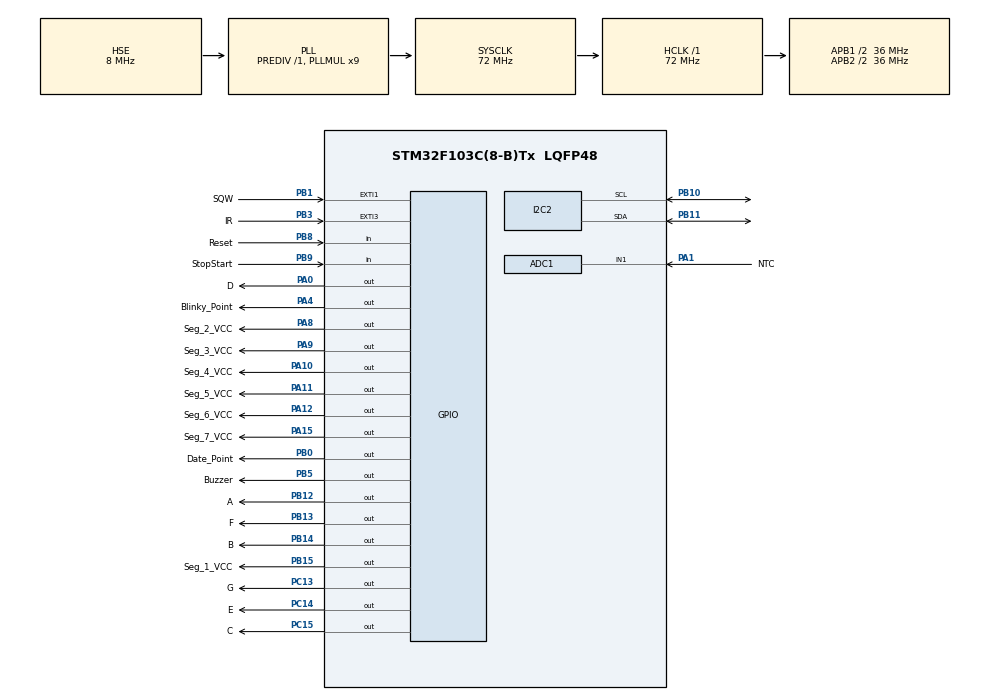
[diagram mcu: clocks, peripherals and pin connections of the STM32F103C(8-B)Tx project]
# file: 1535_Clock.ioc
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ADC1.Channel-0\#ChannelRegularConversion=ADC_CHANNEL_1
ADC1.NbrOfConversionFlag=1
ADC1.Rank-0\#ChannelRegularConversion=1
ADC1.SamplingTime-0\#ChannelRegularConversion=ADC_SAMPLETIME_1CYCLE_5
ADC1.master=1
Mcu.Family=STM32F1
Mcu.Name=STM32F103C(8-B)Tx
Mcu.Package=LQFP48
NVIC.EXTI1_IRQn=true\:0\:0\:false\:false\:true\:true\:true\:true
NVIC.EXTI3_IRQn=true\:0\:0\:false\:false\:true\:true\:true\:true
NVIC.PriorityGroup=NVIC_PRIORITYGROUP_4
NVIC.TIM2_IRQn=true\:0\:0\:false\:false\:true\:true\:true\:true
NVIC.TIM3_IRQn=true\:0\:0\:false\:false\:true\:true\:true\:true
PA0-WKUP.GPIO_Label=D
PA0-WKUP.GPIO_Speed=GPIO_SPEED_FREQ_HIGH
PA0-WKUP.Signal=GPIO_Output
PA1.GPIO_Label=NTC
PA1.Signal=SharedAnalog_PA1
PA10.GPIO_Label=Seg_4_VCC
PA10.GPIO_Speed=GPIO_SPEED_FREQ_HIGH
PA10.Signal=GPIO_Output
PA11.GPIO_Label=Seg_5_VCC
PA11.GPIO_Speed=GPIO_SPEED_FREQ_HIGH
PA11.Signal=GPIO_Output
PA12.GPIO_Label=Seg_6_VCC
PA12.GPIO_Speed=GPIO_SPEED_FREQ_HIGH
PA12.Signal=GPIO_Output
PA13.Mode=Serial_Wire
PA13.Signal=SYS_JTMS-SWDIO
PA14.Mode=Serial_Wire
PA14.Signal=SYS_JTCK-SWCLK
PA15.GPIO_Label=Seg_7_VCC
PA15.GPIO_Speed=GPIO_SPEED_FREQ_HIGH
PA15.Signal=GPIO_Output
PA4.GPIO_Label=Blinky_Point
PA4.Signal=GPIO_Output
PA8.GPIO_Label=Seg_2_VCC
PA8.GPIO_Speed=GPIO_SPEED_FREQ_HIGH
PA8.Signal=GPIO_Output
PA9.GPIO_Label=Seg_3_VCC
PA9.GPIO_Speed=GPIO_SPEED_FREQ_HIGH
PA9.Signal=GPIO_Output
PB0.GPIO_Label=Date_Point
PB0.Signal=GPIO_Output
PB1.GPIO_Label=SQW
PB1.Signal=GPXTI1
PB10.Mode=I2C
PB10.Signal=I2C2_SCL
PB11.Mode=I2C
PB11.Signal=I2C2_SDA
PB12.GPIO_Label=A
PB12.GPIO_Speed=GPIO_SPEED_FREQ_HIGH
PB12.Signal=GPIO_Output
PB13.GPIO_Label=F
PB13.GPIO_Speed=GPIO_SPEED_FREQ_HIGH
PB13.Signal=GPIO_Output
PB14.GPIO_Label=B
PB14.GPIO_Speed=GPIO_SPEED_FREQ_HIGH
PB14.Signal=GPIO_Output
PB15.GPIO_Label=Seg_1_VCC
PB15.GPIO_Speed=GPIO_SPEED_FREQ_HIGH
PB15.Signal=GPIO_Output
PB3.GPIO_Label=IR
PB3.GPIO_ModeDefaultEXTI=GPIO_MODE_IT_FALLING
PB3.Signal=GPXTI3
PB5.GPIO_Label=Buzzer
PB5.Signal=GPIO_Output
PB8.GPIO_Label=Reset
PB8.Signal=GPIO_Input
PB9.GPIO_Label=StopStart
PB9.Signal=GPIO_Input
PC13-TAMPER-RTC.GPIO_Label=G
PC13-TAMPER-RTC.GPIO_Speed=GPIO_SPEED_FREQ_HIGH
PC13-TAMPER-RTC.Signal=GPIO_Output
PC14-OSC32_IN.GPIO_Label=E
PC14-OSC32_IN.GPIO_Speed=GPIO_SPEED_FREQ_HIGH
PC14-OSC32_IN.Signal=GPIO_Output
PC15-OSC32_OUT.GPIO_Label=C
PC15-OSC32_OUT.GPIO_Speed=GPIO_SPEED_FREQ_HIGH
PC15-OSC32_OUT.Signal=GPIO_Output
PD0-OSC_IN.Mode=HSE-External-Oscillator
PD0-OSC_IN.Signal=RCC_OSC_IN
PD1-OSC_OUT.Mode=HSE-External-Oscillator
PD1-OSC_OUT.Signal=RCC_OSC_OUT
ProjectManager.HeapSize=0x200
ProjectManager.StackSize=0x400
ProjectManager.TargetToolchain=STM32CubeIDE
RCC.ADCPresc=RCC_ADCPCLK2_DIV4
RCC.AHBFreq_Value=72000000
RCC.APB1CLKDivider=RCC_HCLK_DIV2
RCC.APB1Freq_Value=36000000
RCC.APB1TimFreq_Value=72000000
RCC.APB2CLKDivider=RCC_HCLK_DIV2
RCC.APB2Freq_Value=36000000
RCC.APB2TimFreq_Value=72000000
RCC.HCLKFreq_Value=72000000
RCC.PLLMUL=RCC_PLL_MUL9
RCC.PLLSourceVirtual=RCC_PLLSOURCE_HSE
RCC.SYSCLKFreq_VALUE=72000000
RCC.SYSCLKSource=RCC_SYSCLKSOURCE_PLLCLK
RCC.USBFreq_Value=72000000
SH.SharedAnalog_PA1.0=GPIO_Analog
SH.SharedAnalog_PA1.1=ADC1_IN1,IN1
TIM2.CounterMode=TIM_COUNTERMODE_CENTERALIGNED3
TIM2.Period=499
TIM2.Prescaler=72-1
TIM3.Period=50000
TIM3.Prescaler=72-1
VP_TIM2_VS_ClockSourceINT.Mode=Internal
VP_TIM3_VS_ClockSourceINT.Mode=Internal
board=custom

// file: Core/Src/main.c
/* USER CODE BEGIN Header */
/**
 ******************************************************************************
 * @file           : main.c
 * @brief          : Main program body
 ******************************************************************************
 * @attention
 *
 * Copyright (c) 2025 STMicroelectronics.
 * All rights reserved.
 *
 * This software is licensed under terms that can be found in the LICENSE file
 * in the root directory of this software component.
 * If no LICENSE file comes with this software, it is provided AS-IS.
 *
 ******************************************************************************
 */
/* USER CODE END Header */
#include "main.h"
#include "adc.h"
#include "i2c.h"
#include "tim.h"
#include "gpio.h"

/* USER CODE BEGIN Includes */
#include "IRRemote.h"
#include "SegmentsDriver.h"
//#include "DS3231.h"
//#include "GeneralRemoote.h"
#include "Variable.h"
#include "Initialization.h"

/* USER CODE END Includes */

void SystemClock_Config(void);

int main(void)
{

  /* MCU Configuration--------------------------------------------------------*/

  /* Reset of all peripherals, Initializes the Flash interface and the Systick. */
  HAL_Init();

  /* Configure the system clock */
  SystemClock_Config();

  /* Initialize all configured peripherals */
  MX_GPIO_Init();
  MX_I2C2_Init();
  MX_TIM2_Init();
  MX_TIM3_Init();
  MX_ADC1_Init();
  /* USER CODE BEGIN 2 */
  HAL_TIM_Base_Start_IT(&htim2);
  HAL_TIM_Base_Start_IT(&htim3);
  for (int i = 0; i < 10; i++)
  {
    Segment_Set(0,i);
    Segment_Set(1,i);
    Segment_Set(2,i);
    Segment_Set(3,i);
    Segment_Set(4,i);
    Segment_Set(5,i);
    Segment_Set(6,'N');
    HAL_Delay(200);
    HAL_GPIO_WritePin(blinky_Point,HIGH);
    HAL_GPIO_WritePin(date_Point,LOW);
  }
  Buzz(20);
  HAL_Delay(100);
  Buzz(20);
  /* USER CODE END 2 */

  /* Infinite loop */
  while (1)
  {

    /* USER CODE BEGIN 3 */

    if(timer_Run)
    {
      if(++time_mili_Second > 99)
      {
        time_mili_Second = 0;
      }
      HAL_Delay(8);

    }

    Segment_Set(0, time_Minute / 10);
    Segment_Set(1, time_Minute % 10);
    Segment_Set(2, time_Second / 10);
    Segment_Set(3, time_Second % 10);
    Segment_Set(4, time_mili_Second / 10);
    Segment_Set(5, time_mili_Second % 10);

    if(HAL_GPIO_ReadPin(StopStart_GPIO_Port,StopStart_Pin) == GPIO_PIN_RESET)
    {
      HAL_Delay(50);
      if(HAL_GPIO_ReadPin(StopStart_GPIO_Port,StopStart_Pin) == GPIO_PIN_RESET)
      {
        timer_Run = !timer_Run;
        Buzz(100);
      }
      while(HAL_GPIO_ReadPin(StopStart_GPIO_Port,StopStart_Pin) == GPIO_PIN_RESET);
    }

    if(HAL_GPIO_ReadPin(Reset_GPIO_Port, Reset_Pin) == GPIO_PIN_RESET)
    {
      HAL_Delay(50);
      if(HAL_GPIO_ReadPin(Reset_GPIO_Port, Reset_Pin) == GPIO_PIN_RESET)
      {
        timer_Run = 0;
        time_Second = 0;
        time_Minute = 0;
        time_mili_Second = 0;
        Buzz(100);HAL_Delay(50);Buzz(100);
      }
    }

  }
  /* USER CODE END 3 */
}

void SystemClock_Config(void)
{
  RCC_OscInitTypeDef RCC_OscInitStruct = {0};
  RCC_ClkInitTypeDef RCC_ClkInitStruct = {0};
  RCC_PeriphCLKInitTypeDef PeriphClkInit = {0};

  /** Initializes the RCC Oscillators according to the specified parameters
  * in the RCC_OscInitTypeDef structure.
  */
  RCC_OscInitStruct.OscillatorType = RCC_OSCILLATORTYPE_HSE;
  RCC_OscInitStruct.HSEState = RCC_HSE_ON;
  RCC_OscInitStruct.HSEPredivValue = RCC_HSE_PREDIV_DIV1;
  RCC_OscInitStruct.HSIState = RCC_HSI_ON;
  RCC_OscInitStruct.PLL.PLLState = RCC_PLL_ON;
  RCC_OscInitStruct.PLL.PLLSource = RCC_PLLSOURCE_HSE;
  RCC_OscInitStruct.PLL.PLLMUL = RCC_PLL_MUL9;
  if (HAL_RCC_OscConfig(&RCC_OscInitStruct) != HAL_OK)
  {
    Error_Handler();
  }

  /** Initializes the CPU, AHB and APB buses clocks
  */
  RCC_ClkInitStruct.ClockType = RCC_CLOCKTYPE_HCLK|RCC_CLOCKTYPE_SYSCLK
                              |RCC_CLOCKTYPE_PCLK1|RCC_CLOCKTYPE_PCLK2;
  RCC_ClkInitStruct.SYSCLKSource = RCC_SYSCLKSOURCE_PLLCLK;
  RCC_ClkInitStruct.AHBCLKDivider = RCC_SYSCLK_DIV1;
  RCC_ClkInitStruct.APB1CLKDivider = RCC_HCLK_DIV2;
  RCC_ClkInitStruct.APB2CLKDivider = RCC_HCLK_DIV2;

  if (HAL_RCC_ClockConfig(&RCC_ClkInitStruct, FLASH_LATENCY_2) != HAL_OK)
  {
    Error_Handler();
  }
  PeriphClkInit.PeriphClockSelection = RCC_PERIPHCLK_ADC;
  PeriphClkInit.AdcClockSelection = RCC_ADCPCLK2_DIV4;
  if (HAL_RCCEx_PeriphCLKConfig(&PeriphClkInit) != HAL_OK)
  {
    Error_Handler();
  }
}

/* USER CODE BEGIN 4 */

void Time_Update(void)
{
  if(timer_Run)
  {
    time_mili_Second = 0;
    if (++time_Second > 59)
    {
      time_Second = 0;
      if (++time_Minute > 59)
      {
        time_Minute = 0;
      }
    }
    if (time_SecBit)
      time_SecBit = 0;
    else
      time_SecBit = 1;
  }

}
/* USER CODE END 4 */

void Error_Handler(void)
{
  __disable_irq();
  while (1)
  {
  }
}
